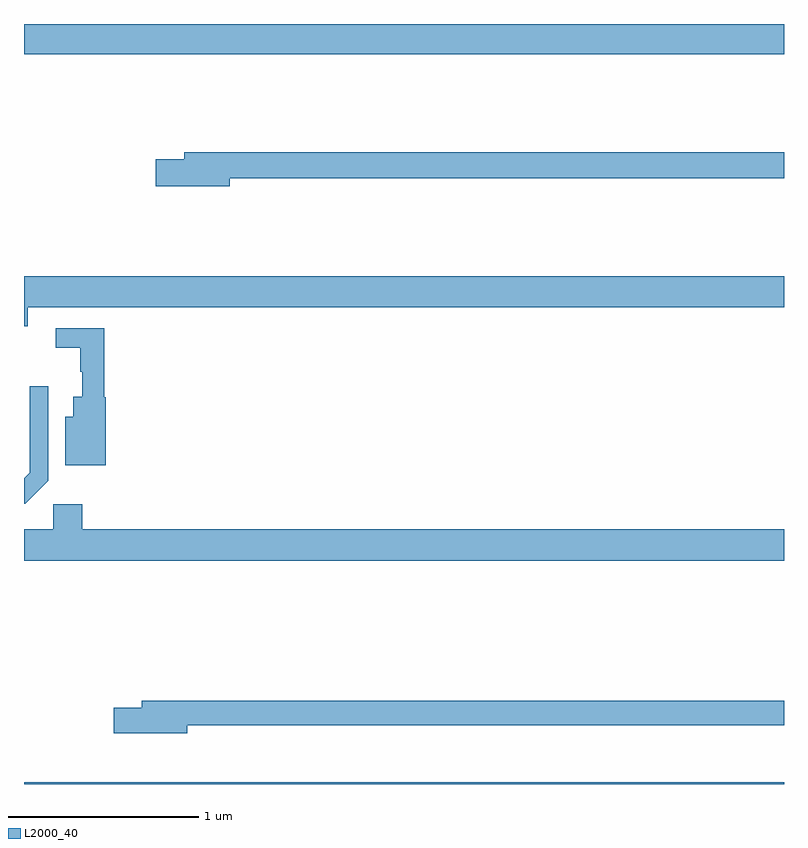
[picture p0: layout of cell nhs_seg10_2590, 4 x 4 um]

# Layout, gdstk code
import gdstk
lib = gdstk.Library(unit=1e-6, precision=1e-09)
def R(c, l, rs):  # rectangles x0, y0, x1, y1
    for r in rs: c.add(gdstk.rectangle(r[:2], r[2:], *l))
def P(c, l, *ps):  # polygons
    for p in ps: c.add(gdstk.Polygon(p, *l))
L2000_40 = (2000, 40)

nhs_seg10_2590 = lib.new_cell('nhs_seg10_2590')
R(nhs_seg10_2590, L2000_40, [(251,1272.5,255,1272.508), (251,1276.34,255,1276.5)])
P(nhs_seg10_2590, L2000_40, [(252.082,1275.688),(255,1275.688),(255,1275.824),(251.843,1275.824),(251.843,1275.788),(251.694,1275.788),(251.694,1275.646),(252.082,1275.646)],
  [(251.02,1275.008),(255,1275.008),(255,1275.172),(251,1275.172),(251,1274.91),(251.02,1274.91)],
  [(251.429,1274.535),(251.423,1274.535),(251.423,1274.898),(251.166,1274.898),(251.166,1274.797),(251.295,1274.797),(251.295,1274.67),(251.306,1274.67),(251.306,1274.539),(251.258,1274.539),(251.258,1274.434),(251.216,1274.434),(251.216,1274.177),(251.429,1274.177)],
  [(251.127,1274.097),(251.127,1274.593),(251.031,1274.593),(251.031,1274.139),(251,1274.108),(251,1273.976),(251.006,1273.976)],
  [(255,1273.84),(251.306,1273.84),(251.306,1273.972),(251.154,1273.972),(251.154,1273.84),(251,1273.84),(251,1273.676),(255,1273.676)],
  [(251.86,1272.81),(255,1272.81),(255,1272.938),(251.621,1272.938),(251.621,1272.902),(251.472,1272.902),(251.472,1272.767),(251.86,1272.767)])

lib.write_gds('nhs_seg10_2590.gds')
